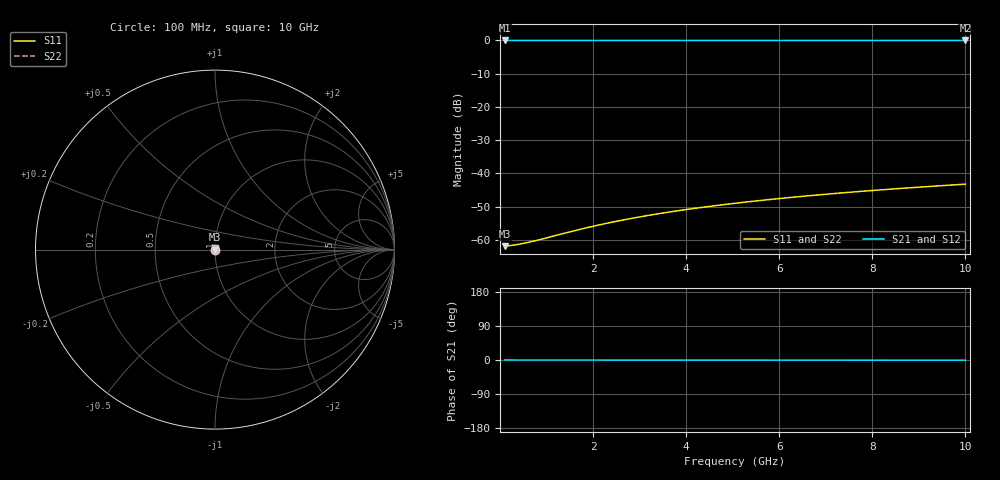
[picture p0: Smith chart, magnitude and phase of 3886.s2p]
# Hz S RI R 50.00
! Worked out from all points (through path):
!   100 points, 100 MHz to 10 GHz, reference 50 ohm
!   highest |S21| = -0.01 dB at 100 MHz (marker M1); lowest = 0.0 dB at 10 GHz (marker M2)
!   lowest |S11| = -61.9 dB at 100 MHz (marker M3), VSWR 1.00, Z = 50.1 + j0.0068 ohm
!   |S11| at or under -10 dB: start of sweep to end of sweep
!   |S22| runs from -61.9 to -43.3 dB; largest |S21 - S12| = 0
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1e8  0.000798 6.79e-05  0.9992 -9.21e-05  0.9992 -9.21e-05  0.000798 6.79e-05
3e8  0.000807 0.000204  0.9992 -0.000276  0.9992 -0.000276  0.000807 0.000204
4e8  0.00081 0.000272  0.9992 -0.000368  0.9992 -0.000368  0.00081 0.000272
6e8  0.000815 0.000407  0.9992 -0.000553  0.9992 -0.000553  0.000815 0.000407
8e8  0.00082 0.000543  0.9992 -0.000737  0.9992 -0.000737  0.00082 0.000543
1.5e9  0.00083 0.00102  0.9992 -0.00138  0.9992 -0.00138  0.00083 0.00102
1.8e9  0.000834 0.00122  0.9992 -0.00166  0.9992 -0.00166  0.000834 0.00122
2.2e9  0.000839 0.00149  0.9992 -0.00203  0.9992 -0.00203  0.000839 0.00149
2.6e9  0.000844 0.00177  0.9992 -0.0024  0.9992 -0.0024  0.000844 0.00177
3e9  0.000848 0.00204  0.9991 -0.00276  0.9991 -0.00276  0.000848 0.00204
3.4e9  0.000852 0.00231  0.9991 -0.00313  0.9991 -0.00313  0.000852 0.00231
3.8e9  0.000857 0.00258  0.9991 -0.0035  0.9991 -0.0035  0.000857 0.00258
4.2e9  0.000861 0.00285  0.9991 -0.00387  0.9991 -0.00387  0.000861 0.00285
4.6e9  0.000866 0.00312  0.9991 -0.00424  0.9991 -0.00424  0.000866 0.00312
5.1e9  0.000871 0.00346  0.9991 -0.0047  0.9991 -0.0047  0.000871 0.00346
5.5e9  0.000876 0.00374  0.9991 -0.00507  0.9991 -0.00507  0.000876 0.00374
5.9e9  0.000881 0.00401  0.9991 -0.00544  0.9991 -0.00544  0.000881 0.00401
6.7e9  0.000891 0.00455  0.9991 -0.00618  0.9991 -0.00618  0.000891 0.00455
7.5e9  0.000902 0.0051  0.9991 -0.00692  0.9991 -0.00692  0.000902 0.0051
8.4e9  0.000915 0.00571  0.9991 -0.00775  0.9991 -0.00775  0.000915 0.00571
9.2e9  0.000928 0.00626  0.9991 -0.00849  0.9991 -0.00849  0.000928 0.00626
1e10  0.000941 0.0068  0.9991 -0.00923  0.9991 -0.00923  0.000941 0.0068
